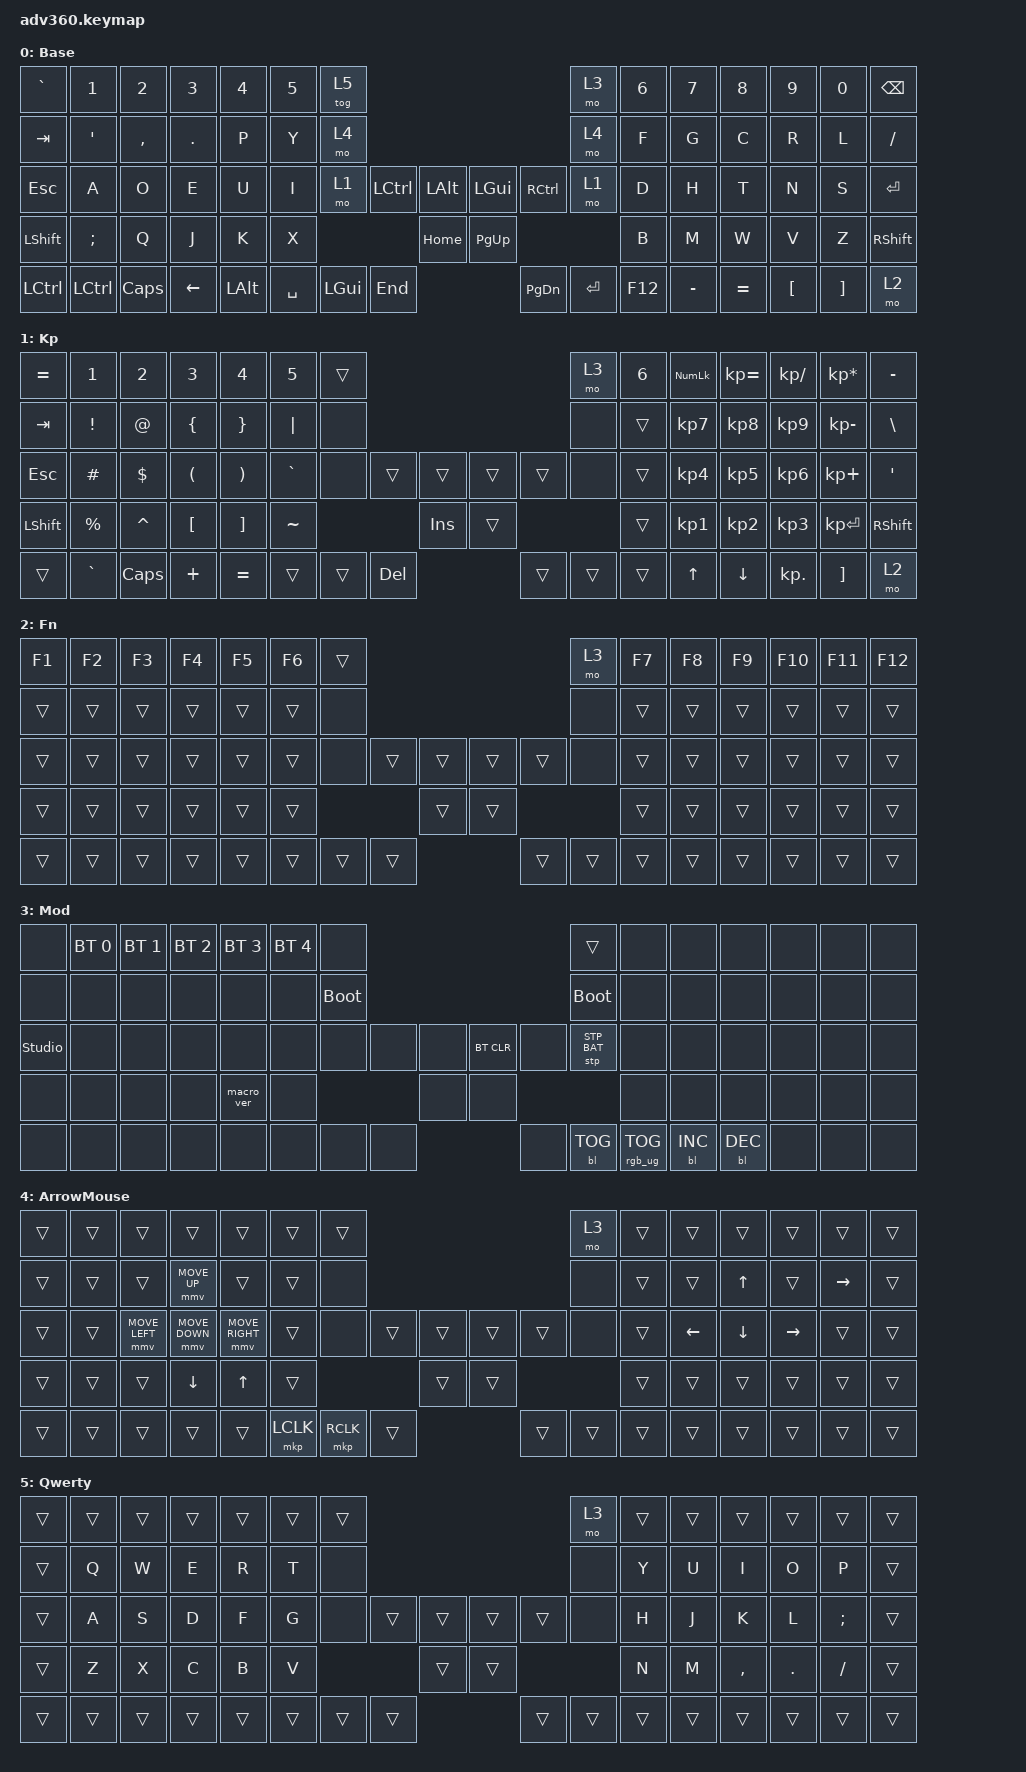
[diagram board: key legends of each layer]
#include <behaviors.dtsi>
#include <dt-bindings/zmk/keys.h>
#include <dt-bindings/zmk/bt.h>
#include <dt-bindings/zmk/rgb.h>
#include <dt-bindings/zmk/stp.h>
#include <dt-bindings/zmk/backlight.h>
#include <dt-bindings/zmk/pointing.h>

// TODO turn on bluetooth battery indicator
// TODO all layers
// TODO f-key layer
// TODO backslash
// TODO keypad symbols like {}()[]
// TODO disable or reduce backlight, dramatically improves battery life
// TODO numpad light (ideally inverted)
// TODO all lights off by default?

/ {
    behaviors {
      #include "macros.dtsi"
      #include "version.dtsi"

      hm: homerow_mods {
          compatible = "zmk,behavior-hold-tap";
          label = "HOMEROW_MODS";
          #binding-cells = <2>;
          tapping-term-ms = <200>;
          quick_tap_ms = <175>;
          flavor = "tap-preferred";
          bindings = <&kp>, <&kp>;
      };
    };

  keymap {
    compatible = "zmk,keymap";

    // https://zmk.dev/docs/keymaps/list-of-keycodes

    default_layer {
      display-name = "Base";
      //bindings = <
      //  &kp EQUAL &kp N1    &kp N2   &kp N3   &kp N4     &kp N5 &tog 1                                                           &mo 3 &kp N6 &kp N7 &kp N8    &kp N9   &kp N0   &kp MINUS
      //  &kp TAB   &kp Q     &kp W    &kp E    &kp R      &kp T  &none                                                            &none &kp Y  &kp U  &kp I     &kp O    &kp P    &kp BSLH
      //  &kp ESC   &kp A     &kp S    &kp D    &kp F      &kp G  &none           &kp LCTRL &kp LALT &kp LGUI  &kp RCTRL           &none &kp H  &kp J  &kp K     &kp L    &kp SEMI &kp SQT
      //  &kp LSHFT &kp Z     &kp X    &kp C    &kp V      &kp B                            &kp HOME &kp PG_UP                           &kp N  &kp M  &kp COMMA &kp DOT  &kp FSLH &kp RSHFT
      //  &mo 2     &kp GRAVE &kp CAPS &kp LEFT &kp RIGHT                &kp BSPC &kp DEL   &kp END  &kp PG_DN &kp ENTER &kp SPACE              &kp UP &kp DOWN  &kp LBKT &kp RBKT &mo 2
      //>;
      bindings = <
        &kp GRAVE &kp N1    &kp N2    &kp N3   &kp N4     &kp N5 &tog 5                                                           &mo 3 &kp N6 &kp N7    &kp N8    &kp N9   &kp N0   &kp BSPC
        &kp TAB   &kp SQT   &kp COMMA &kp DOT  &kp P      &kp Y  &mo 4                                                            &mo 4 &kp F  &kp G     &kp C     &kp R    &kp L    &kp SLASH
        &kp ESC   &kp A     &kp O     &kp E    &kp U      &kp I  &mo 1           &kp LCTRL &kp LALT  &kp LGUI  &kp RCTRL          &mo 1 &kp D  &kp H     &kp T     &kp N    &kp S    &kp ENTER
        &kp LSHFT &kp SEMI  &kp Q     &kp J    &kp K      &kp X                            &kp HOME  &kp PG_UP                          &kp B  &kp M     &kp W     &kp V    &kp Z    &kp RSHFT
        &kp LCTRL &kp LCTRL &kp CAPS  &kp LEFT &kp LALT                 &kp SPACE &kp LGUI &kp END   &kp PG_DN &kp ENTER &kp F12               &kp MINUS &kp EQUAL &kp LBKT &kp RBKT &mo 2
      >;
    };
    keypad {
      display-name = "Kp";
      bindings = <
        &kp EQUAL &kp N1     &kp N2   &kp N3   &kp N4   &kp N5    &trans                                                                  &mo 3 &kp N6  &kp KP_NUM &kp KP_EQUAL &kp KP_DIVIDE &kp KP_MULTIPLY &kp MINUS
        &kp TAB   &kp EXCL  &kp AT    &kp LBRC &kp RBRC &kp PIPE  &none                                                                   &none &trans  &kp KP_N7  &kp KP_N8    &kp KP_N9     &kp KP_MINUS    &kp BSLH
        &kp ESC   &kp POUND &kp DLLR  &kp LPAR &kp RPAR &kp GRAVE &none                   &trans &trans  &trans &trans                    &none &trans  &kp KP_N4  &kp KP_N5    &kp KP_N6     &kp KP_PLUS     &kp SQT
        &kp LSHFT &kp PRCNT &kp CARET &kp LBKT &kp RBKT &kp TILDE                                  &kp INS &trans                               &trans  &kp KP_N1  &kp KP_N2    &kp KP_N3     &kp KP_ENTER    &kp RSHFT
        &trans    &kp GRAVE &kp CAPS &kp PLUS &kp EQUAL                              &trans &trans &kp DEL &trans &trans &trans                         &kp UP     &kp DOWN     &kp KP_DOT    &kp RBKT        &mo 2
      >;
    };
    fn {
      display-name = "Fn";
      bindings = <
        &kp F1 &kp F2 &kp F3 &kp F4   &kp F5   &kp F6   &trans                                       &mo 3 &kp F7 &kp F8 &kp F9 &kp F10 &kp F11 &kp F12
        &trans &trans &trans &trans   &trans   &trans   &none                                        &none &trans &trans &trans &trans  &trans  &trans
        &trans &trans &trans &trans   &trans   &trans   &none     &trans &trans &trans &trans        &none &trans &trans &trans &trans  &trans  &trans
        &trans &trans &trans &trans   &trans   &trans                    &trans &trans                     &trans &trans &trans &trans  &trans  &trans
        &trans &trans &trans &trans   &trans               &trans &trans &trans &trans &trans &trans              &trans &trans &trans  &trans  &trans
      >;
    };
    mod {
      display-name = "Mod";
      bindings = <
        &none &bt BT_SEL 0 &bt BT_SEL 1 &bt BT_SEL 2 &bt BT_SEL 3 &bt BT_SEL 4 &none                                                                     &trans                 &none        &none        &none        &none &none &none
        &none &none        &none        &none        &none        &none        &bootloader                                                               &bootloader            &none        &none        &none        &none &none &none
        &studio_unlock &none        &none        &none        &none        &none        &none                   &none &none &bt BT_CLR &none                      &stp STP_BAT &none        &none        &none        &none &none &none
        &none &none        &none        &none        &macro_ver   &none                                      &none &none                                                        &none        &none        &none        &none &none &none
        &none &none        &none        &none        &none                                       &none &none &none &none      &bl BL_TOG &rgb_ug RGB_TOG                                     &bl BL_INC   &bl BL_DEC   &none &none &none
      >;
    };
    arrowmouse {
      display-name = "ArrowMouse";
      bindings = <
        &trans &trans &trans         &trans         &trans          &trans &trans                                           &mo 3 &trans &trans   &trans   &trans    &trans    &trans
        &trans &trans &trans         &mmv MOVE_UP   &trans          &trans  &none                                           &none &trans &trans   &kp UP   &trans    &kp RIGHT &trans
        &trans &trans &mmv MOVE_LEFT &mmv MOVE_DOWN &mmv MOVE_RIGHT &trans  &none        &trans &trans &trans &trans        &none &trans &kp LEFT &kp DOWN &kp RIGHT &trans    &trans
        &trans &trans &trans         &kp DOWN       &kp UP          &trans                      &trans &trans                     &trans &trans   &trans   &trans    &trans    &trans
        &trans &trans &trans         &trans         &trans                    &mkp LCLK &mkp RCLK &trans &trans &trans &trans            &trans   &trans   &trans    &trans    &trans
      >;
    };
    qwerty {
      display-name = "Qwerty";
      bindings = <
        &trans &trans &trans &trans &trans &trans &trans                                           &mo 3 &trans &trans &trans    &trans  &trans    &trans
        &trans &kp Q  &kp W  &kp E  &kp R  &kp T   &none                                           &none &kp Y  &kp U  &kp I     &kp O   &kp P     &trans
        &trans &kp A  &kp S  &kp D  &kp F  &kp G   &none        &trans &trans &trans &trans        &none &kp H  &kp J  &kp K     &kp L   &kp SEMI  &trans
        &trans &kp Z  &kp X  &kp C  &kp B  &kp V                       &trans &trans                     &kp N  &kp M  &kp COMMA &kp DOT &kp SLASH &trans
        &trans &trans &trans &trans &trans               &trans &trans &trans &trans &trans &trans              &trans &trans    &trans  &trans    &trans
      >;
    };

    //&trans &trans &trans &trans &trans &trans &trans                                           &mo 3 &trans &trans &trans &trans  &trans  &trans
    //&trans &trans &trans &trans &trans &trans  &none                                           &none &trans &trans &trans &trans  &trans  &trans
    //&trans &trans &trans &trans &trans &trans  &none        &trans &trans &trans &trans        &none &trans &trans &trans &trans  &trans  &trans
    //&trans &trans &trans &trans &trans &trans                      &trans &trans                     &trans &trans &trans &trans  &trans  &trans
    //&trans &trans &trans &trans &trans               &trans &trans &trans &trans &trans &trans              &trans &trans &trans  &trans  &trans

    extra1 { 
      display-name = "Red";    
      status = "reserved";
    };

    extra2 { 
      display-name = "Purple";    
      status = "reserved";
    };

    extra3 { 
      display-name = "Cyan";    
      status = "reserved";
    };

    extra4 { 
      display-name = "Yellow";    
      status = "reserved";
    };
  };
};
